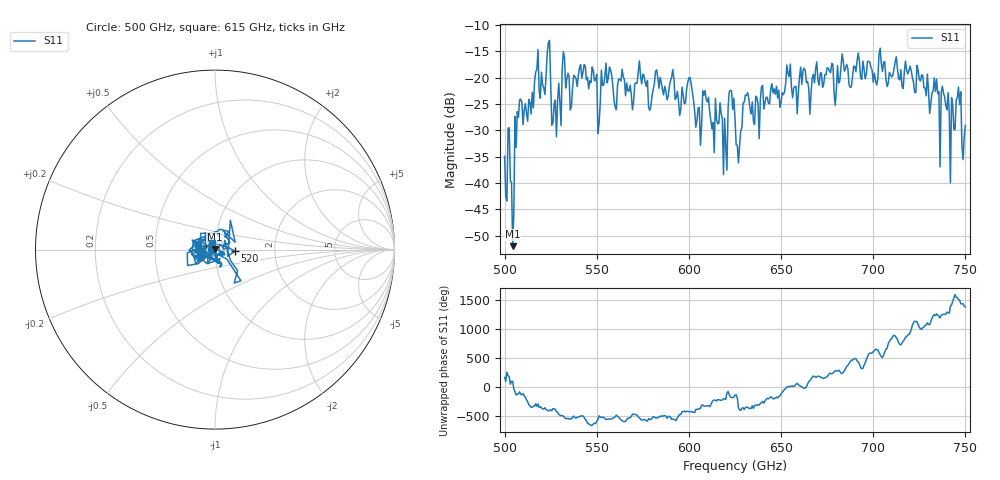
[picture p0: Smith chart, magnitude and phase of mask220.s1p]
!Created with skrf (http://scikit-rf.org).
# GHz S MA R 50.0
!freq magS11 angS11
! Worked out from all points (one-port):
!   401 points, 500 GHz to 750 GHz, reference 50 ohm
!   lowest |S11| = -52.0 dB at 504.4 GHz (marker M1), VSWR 1.01, Z = 50 + j0.25 ohm
!   |S11| at or under -10 dB: start of sweep to end of sweep
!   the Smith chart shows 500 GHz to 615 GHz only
!   S11 on the Smith chart (normalised r, x): 500 GHz: 0.97, +0.01; 520 GHz: 1.25, -0.02; 615 GHz: 0.97, +0.07
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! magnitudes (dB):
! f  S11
! 500 GHz  -34.9
! 504.4 GHz  -52.0
! 508.1 GHz  -24.2
! 520 GHz  -19.0
! 523.8 GHz  -13.4
! 526.9 GHz  -25.0
! 531.2 GHz  -18.3
! 548.8 GHz  -20.6
! 551.9 GHz  -24.9
! 553.8 GHz  -21.4
! 562.5 GHz  -20.3
! 593.8 GHz  -22.6
! 600.6 GHz  -20.0
! 605 GHz  -25.8
! 608.8 GHz  -22.4
! 615 GHz  -28.0
! 619.4 GHz  -27.7
! 623.1 GHz  -22.5
! 625 GHz  -27.8
! 626.9 GHz  -36.2
! 630.6 GHz  -23.3
! 656.2 GHz  -23.8
! 687.5 GHz  -21.8
! 718.8 GHz  -19.3
! 738.1 GHz  -22.9
! 743.1 GHz  -25.3
! 746.2 GHz  -21.8
! 750 GHz  -29.1
